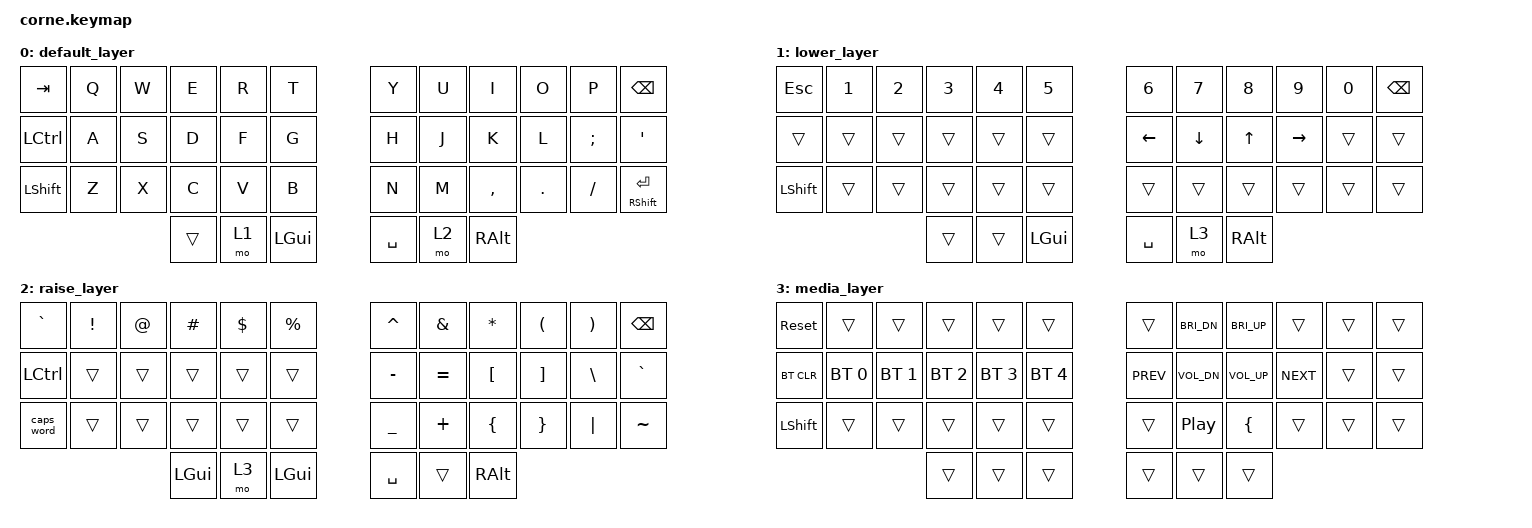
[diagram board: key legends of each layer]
/*
 * Copyright (c) 2020 The ZMK Contributors
 *
 * SPDX-License-Identifier: MIT
 */

#include <behaviors.dtsi>
#include <dt-bindings/zmk/bt.h>
#include <dt-bindings/zmk/keys.h>

/ {
    keymap {
        compatible = "zmk,keymap";

        default_layer {
            // -----------------------------------------------------------------------------------------
            // |  TAB |  Q  |  W  |  E  |  R  |  T  |   |  Y  |  U   |  I  |  O  |  P  | BSPC |
            // | CTRL |  A  |  S  |  D  |  F  |  G  |   |  H  |  J   |  K  |  L  |  ;  |  '   |
            // | SHFT |  Z  |  X  |  C  |  V  |  B  |   |  N  |  M   |  ,  |  .  |  /  | ENT  |
            //                    | SCRL| LWR | CMD |   | SPC | RSE  | ALT |

            bindings = <
&kp TAB    &kp Q  &kp W  &kp E   &kp R  &kp T       &kp Y      &kp U  &kp I      &kp O    &kp P     &kp BSPC
&kp LCTRL  &kp A  &kp S  &kp D   &kp F  &kp G       &kp H      &kp J  &kp K      &kp L    &kp SEMI  &kp SQT
&kp LSHFT  &kp Z  &kp X  &kp C   &kp V  &kp B       &kp N      &kp M  &kp COMMA  &kp DOT  &kp FSLH  &mt RSHFT RET
                         &trans  &mo 1  &kp LGUI    &kp SPACE  &mo 2  &kp RALT
            >;
        };

        lower_layer {
            // -----------------------------------------------------------------------------------------
            // |  ESC |  1  |  2  |  3  |  4  |  5  |   |  6  |  7  |  8  |  9  |  0  | BSPC |
            // |      |     |     |     |     |     |   | LFT | DWN |  UP | RGT |     |      |
            // | SHFT |     |     |     |     |     |   |     |     |     |     |     |      |
            //                    |     |     | CMD |   | SPC |MEDIA| ALT |

            bindings = <
&kp ESC     &kp N1        &kp N2        &kp N3        &kp N4        &kp N5          &kp N6     &kp N7    &kp N8    &kp N9     &kp N0  &kp BSPC
&trans      &trans        &trans        &trans        &trans        &trans          &kp LEFT   &kp DOWN  &kp UP    &kp RIGHT  &trans  &trans
&kp LSHFT   &trans        &trans        &trans        &trans        &trans          &trans     &trans    &trans    &trans     &trans  &trans
                                        &trans        &trans        &kp LGUI        &kp SPACE  &mo 3     &kp RALT
            >;
        };

        raise_layer {
            // -----------------------------------------------------------------------------------------
            // |  GRV |  !  |  @  |  #  |  $  |  %  |   |  ^  |  &  |  *  |  (  |  )  | BSPC |
            // | CTRL |     |     |     |     |     |   |  -  |  =  |  [  |  ]  |  \  |  `   |
            // | SHFT |     |     |     |     |     |   |  _  |  +  |  {  |  }  | "|" |  ~   |
            //                    | GUI |MEDIA| CMD |   | SPC |     | ALT |

            bindings = <
&kp GRAVE    &kp EXCL  &kp AT  &kp HASH  &kp DLLR  &kp PRCNT    &kp CARET  &kp AMPS   &kp ASTRK  &kp LPAR  &kp RPAR  &kp BSPC
&kp LCTRL  &trans    &trans  &trans    &trans    &trans       &kp MINUS  &kp EQUAL  &kp LBKT   &kp RBKT  &kp BSLH  &kp GRAVE
&caps_word  &trans    &trans  &trans    &trans    &trans       &kp UNDER  &kp PLUS   &kp LBRC   &kp RBRC  &kp PIPE  &kp TILDE
                             &kp LGUI  &mo 3     &kp LGUI     &kp SPACE  &trans     &kp RALT
            >;
        };

                        media_layer {
        // -----------------------------------------------------------------------------------------
        // |RsetKb|     |     |     |     |     |   |     |BriDn|BriUp|     |     |      |
        // |BTCLR | BT1 | BT2 | BT3 | BT4 | BT5 |   |PREV |VolDn|VolUp|NEXT |     |      |
        // |      |     |     |     |     |     |   |     |PLAY/|     |     |     |      |
        //                    |     |     |     |   |     |     |     |

        bindings = <
&sys_reset &trans   &trans &trans   &trans   &trans    &trans     &kp C_BRI_DN &kp C_BRI_UP  &trans     &trans &trans
&bt BT_CLR &bt BT_SEL 0  &bt BT_SEL 1  &bt BT_SEL 2  &bt BT_SEL 3  &bt BT_SEL 4      &kp C_PREV &kp C_VOL_DN &kp C_VOL_UP  &kp C_NEXT &trans &trans
   &kp LSHFT &trans &trans &trans   &trans   &trans      &trans     &kp C_PP     &kp LBRC      &trans     &trans &trans
                             &trans &trans   &trans   &trans   &trans    &trans
        >;
    };
};

};
